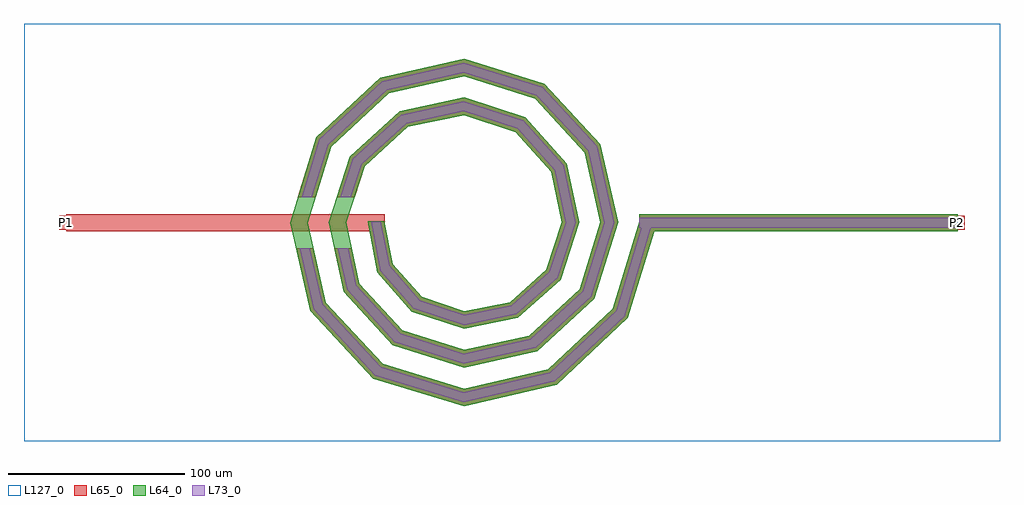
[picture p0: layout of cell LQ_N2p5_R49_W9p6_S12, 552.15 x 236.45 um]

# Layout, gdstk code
import gdstk
lib = gdstk.Library(unit=1e-6, precision=1e-09)
def R(c, l, rs):  # rectangles x0, y0, x1, y1
    for r in rs: c.add(gdstk.rectangle(r[:2], r[2:], *l))
def P(c, l, *ps):  # polygons
    for p in ps: c.add(gdstk.Polygon(p, *l))
L64_0 = (64, 0)
L65_0 = (65, 0)
L73_0 = (73, 0)
L127_0 = (127, 0)

lq_n2p5_r49_w9p6_s12 = lib.new_cell('LQ_N2p5_R49_W9p6_S12')
R(lq_n2p5_r49_w9p6_s12, L64_0, [(99.384,-4.8,279.384,4.8)])
P(lq_n2p5_r49_w9p6_s12, L64_0, [(-40.04,-23.496),(-23.848,-41.939),(0.306,-50.064),(26.199,-44.785),(46.653,-26.603),(55.525,0.279),(49.527,28.907),(29.355,51.371),(0.256,60.986),(-31.619,54.268),(-56.09,32.104),(-66.447,0.236),(-59.006,-34.333),(-34.849,-60.811),(0.219,-71.909),(37.05,-63.744),(65.533,-37.593),(77.37,0.205),(68.481,39.769),(40.336,70.256),(0.192,82.832),(-42.489,73.217),(-74.98,43.077),(-88.294,0.181),(-77.952,-45.211),(-45.817,-79.705),(0.171,-93.755),(47.933,-82.687),(84.43,-48.556),(99.591,1.394),(108.777,-1.394),(92.869,-53.808),(52.61,-91.458),(0.171,-103.689),(-51.085,-88.133),(-86.732,-49.87),(-98.227,0.181),(-83.398,48.363),(-47.129,82.007),(0.192,92.764),(45.642,78.661),(77.283,44.388),(87.302,0.205),(73.924,-42.922),(41.644,-72.559),(0.219,-81.839),(-40.204,-69.185),(-67.836,-38.899),(-76.376,0.236),(-64.446,37.488),(-36.152,63.114),(0.256,70.913),(34.774,59.704),(58.394,33.401),(65.45,0.279),(54.961,-32.064),(30.647,-53.676),(0.306,-59.987),(-29.357,-50.214),(-48.96,-27.888),(-54.273,0.928),(-44.854,0.928)])
R(lq_n2p5_r49_w9p6_s12, L65_0, [(-224.763,-4.8,-44.763,4.8), (99.384,-4.8,279.384,4.8), (-228.763,-4,-220.763,4), (275.384,-4,283.384,4)])
P(lq_n2p5_r49_w9p6_s12, L65_0, [(-77.953,-45.211),(-45.817,-79.705),(0.171,-93.756),(47.933,-82.687),(84.43,-48.556),(99.591,1.394),(108.777,-1.394),(92.869,-53.808),(52.61,-91.458),(0.171,-103.689),(-51.085,-88.133),(-86.732,-49.87),(-94.878,-14.4),(-85.028,-14.4)],
  [(-59.006,-34.333),(-34.849,-60.811),(0.22,-71.909),(37.05,-63.744),(65.533,-37.593),(77.37,0.205),(68.481,39.769),(40.336,70.256),(0.192,82.832),(-42.489,73.217),(-74.98,43.077),(-83.806,14.4),(-93.85,14.4),(-83.398,48.363),(-47.13,82.007),(0.192,92.764),(45.642,78.661),(77.283,44.388),(87.302,0.205),(73.924,-42.922),(41.644,-72.559),(0.22,-81.839),(-40.204,-69.185),(-67.836,-38.899),(-73.182,-14.4),(-63.356,-14.4)],
  [(-23.848,-41.939),(0.306,-50.064),(26.199,-44.785),(46.653,-26.603),(55.525,0.279),(49.527,28.907),(29.355,51.371),(0.256,60.986),(-31.619,54.268),(-56.09,32.103),(-61.76,14.4),(-71.84,14.4),(-64.446,37.488),(-36.152,63.114),(0.256,70.913),(34.774,59.704),(58.394,33.401),(65.45,0.279),(54.961,-32.063),(30.647,-53.676),(0.306,-59.987),(-29.357,-50.214),(-48.96,-27.888),(-54.273,0.928),(-44.854,0.928),(-40.04,-23.496)])
R(lq_n2p5_r49_w9p6_s12, L73_0, [(99.384,-2.8,279.384,2.8)])
P(lq_n2p5_r49_w9p6_s12, L73_0, [(-79.782,-46.182),(-46.914,-81.461),(0.1,-95.825),(48.908,-84.515),(86.188,-49.65),(101.505,0.813),(106.864,0.813),(91.111,-52.714),(51.635,-89.631),(0.1,-101.62),(-49.987,-86.378),(-84.903,-48.899),(-92.826,-14.4),(-87.08,-14.4)],
  [(-60.846,-35.285),(-35.965,-62.555),(0.128,-73.978),(38.007,-65.581),(67.281,-38.704),(79.439,0.12),(70.315,40.731),(41.441,72.007),(0.112,84.901),(-43.456,75.048),(-76.734,44.178),(-85.899,14.4),(-91.758,14.4),(-81.644,47.262),(-46.163,80.176),(0.112,90.695),(44.536,76.91),(75.449,43.425),(85.233,0.12),(72.176,-41.812),(40.687,-70.723),(0.128,-79.77),(-39.088,-67.441),(-65.997,-37.948),(-71.135,-14.4),(-65.403,-14.4)],
  [(-24.996,-43.663),(0.179,-52.132),(27.126,-46.637),(48.384,-27.741),(57.593,0.163),(51.374,29.843),(30.484,53.107),(0.149,63.054),(-32.563,56.111),(-57.831,33.225),(-63.86,14.4),(-69.74,14.4),(-62.705,36.366),(-35.207,61.271),(0.149,68.845),(33.645,57.968),(56.547,32.465),(63.383,0.163),(53.23,-30.926),(29.72,-51.823),(0.179,-57.92),(-28.209,-48.49),(-47.101,-26.973),(-52.311,0.541),(-46.816,0.541),(-41.899,-24.411)])
R(lq_n2p5_r49_w9p6_s12, L127_0, [(-248.763,-123.689,303.384,112.764)])
lq_n2p5_r49_w9p6_s12.add(gdstk.Label('P2', (279.384,0), layer=65, texttype=0))
lq_n2p5_r49_w9p6_s12.add(gdstk.Label('P1', (-224.763,0), layer=65, texttype=0))
lq_n2p5_r49_w9p6_s12.add(gdstk.Label('P2', (283.384,0), layer=145, texttype=0))
lq_n2p5_r49_w9p6_s12.add(gdstk.Label('P1', (-228.763,0), layer=145, texttype=0))

lib.write_gds('LQ_N2p5_R49_W9p6_S12.gds')
